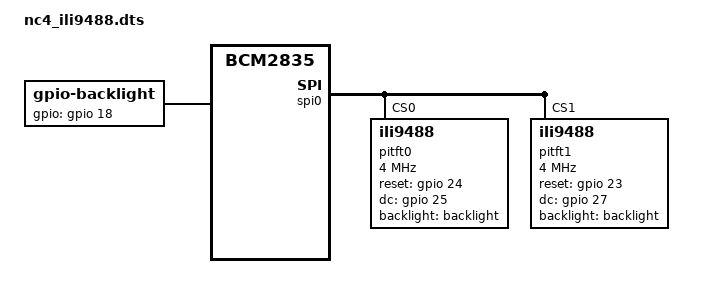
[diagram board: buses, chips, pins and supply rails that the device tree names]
/********************************************************************************
 * nc4_ili9488.dts
 *
 * Device Tree Overlay for two ILI9488 panels on Raspberry Pi's SPI0 bus.
 * - Sets up ALL SPI0 pins (SCLK/MOSI/MISO/CE) in the correct ALT function.
 * - Also sets DC, RESET, backlight lines as outputs in the same fragment.
 * - Creates child nodes for pitft0@0 (CE0) and pitft1@1 (CE1).
 * - Disables spidev0/spidev1 unless needed.
 *
 * Usage:
 *   dtoverlay=nc4_ili9488
 ********************************************************************************/
 /dts-v1/;
/plugin/;

/ {
	compatible = "brcm,bcm2835";

	/****************************************************************************
	 * Fragment 0: Primary fragment to set up SPI0 pins and attach child nodes
	 *             in a single overlay block. This is similar to how spi1-3cs
	 *             does it.
	 ****************************************************************************/
	fragment@0 {
		target = <&spi0>;
		__overlay__ {

			/***************************************************************
			 * 1) Provide pinctrl references at the parent SPI node
			 ***************************************************************/
			pinctrl-names = "default";
			/* We'll define two sets of pins below: spi0_bus_pins and spi0_aux_pins */
			pinctrl-0 = <&spi0_bus_pins &spi0_aux_pins>;

			status = "okay"; /* ensure SPI0 is enabled */

			/* 
			 * 2) Also define child nodes for pitft0@0 and pitft1@1 here.
			 *    We set #address-cells and #size-cells as needed.
			 */
			#address-cells = <1>;
			#size-cells = <0>;

			pitft0: pitft0@0 {
				compatible = "ili9488";
				reg = <0>; /* CE0 */
				spi-max-frequency = <4000000>;
				rotation = <0>;

				/* DC/RESET lines for the first panel */
				reset-gpios = <&gpio 24 0>;
				dc-gpios    = <&gpio 25 0>;

				/* shared backlight */
				backlight = <&backlight>;
			};

			pitft1: pitft1@1 {
				compatible = "ili9488";
				reg = <1>; /* CE1 */
				spi-max-frequency = <4000000>;
				rotation = <0>;

				/* DC/RESET lines for the second panel */
				reset-gpios = <&gpio 23 0>;
				dc-gpios    = <&gpio 27 0>;

				backlight = <&backlight>;
			};
		};
	};

	/****************************************************************************
	 * Fragment 1: Define bus pins (MISO, MOSI, SCLK, CE0, CE1) in ALT0 for SPI0
	 *             + DC/RESET/Backlight lines as outputs in a single block.
	 *             We label them for Pi firmware references.
	 ****************************************************************************/
	fragment@1 {
		target = <&gpio>;
		__overlay__ {

			/*
			 * SPI0 bus lines (these are the default pins on many Pi boards):
			 *   GPIO9  (MISO), GPIO10 (MOSI), GPIO11 (SCLK), GPIO8 (CE0), GPIO7 (CE1)
			 * alt function = 0 => ALT0, or 4 => ALT4 depending on the Pi.
			 * Usually it's ALT0 for SPI0 on Pi.
			 */
			spi0_bus_pins: spi0_bus_pins {
				brcm,pins = <9 10 11 8 7>;
				/* 4 = alt0 on some Pi boards, but double-check if it’s 0 or 4. */
				brcm,function = <4 4 4 4 4>;
			};

			/*
			 * Additional lines for DC, RESET, backlight, etc. as standard outputs:
			 *   GPIO18 (backlight), GPIO23/27 (2nd LCD reset/DC), GPIO24/25 (1st LCD reset/DC)
			 */
			spi0_aux_pins: spi0_aux_pins {
				brcm,pins = <18 23 24 25 27>;
				brcm,function = <1 1 1 1 1>; /* all set as outputs */
			};
		};
	};

	/****************************************************************************
	 * Fragment 2: Disable spidev0
	 ****************************************************************************/
	fragment@2 {
		target = <&spidev0>;
		__overlay__ {
			status = "disabled";
		};
	};

	/****************************************************************************
	 * Fragment 3: Disable spidev1
	 ****************************************************************************/
	fragment@3 {
		target = <&spidev1>;
		__overlay__ {
			status = "disabled";
		};
	};

	/****************************************************************************
	 * Fragment 4: Shared backlight control node, referencing /soc
	 ****************************************************************************/
	fragment@4 {
		target-path = "/soc";
		__overlay__ {
			backlight: backlight {
				compatible = "gpio-backlight";
				gpios = <&gpio 18 0>;
			};
		};
	};

	/****************************************************************************
	 * Overridable parameters for speed and rotation
	 ****************************************************************************/
	__overrides__ {
		speed = <&pitft0>,"spi-max-frequency:0", <&pitft1>,"spi-max-frequency:0";
		rotation = <&pitft0>,"rotation:0",        <&pitft1>,"rotation:0";
	};
};
